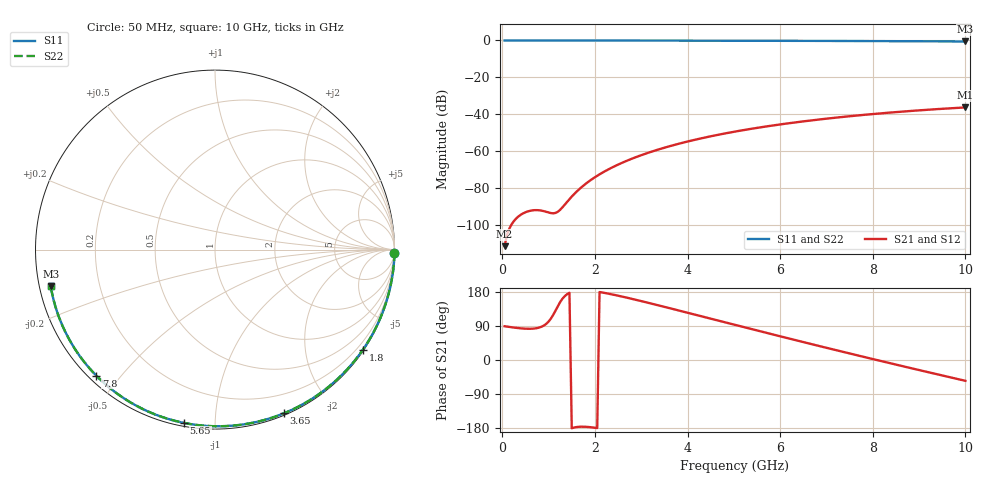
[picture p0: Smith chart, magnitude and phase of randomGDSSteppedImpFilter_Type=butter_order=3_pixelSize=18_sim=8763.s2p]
! freq	dB(S11)	phase(S11)	dB(S12)	phase(S12)
!  dB(S21)	phase(S21)	dB(S22)	phase(S22)
!S-par simulation data
#  GHz  S  DB  R 50
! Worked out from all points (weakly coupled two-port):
!   200 points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, 50 MHz to 10 GHz, reference 50 ohm
!   highest |S21| = -36.33 dB at 10 GHz (marker M1); lowest = -111.6 dB at 50 MHz (marker M2)
!   lowest |S11| = -0.6 dB at 10 GHz (marker M3), VSWR 31.12, Z = 1.63 - j5.48 ohm
!   |S11| at or under -10 dB: nowhere
!   |S22| runs from -0.6 to 0.0 dB; largest |S21 - S12| = 0
!   S11 on the Smith chart (normalised r, x): 50 MHz: open; 1.8 GHz: 0.03, -3.26; 3.65 GHz: 0.02, -1.51; 5.65 GHz: 0.02, -0.84; 7.8 GHz: 0.02, -0.43; 10 GHz: 0.03, -0.11
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0.05  -0.00 -1.0  -111.61 89.1  -111.61 89.1  -0.00 -1.0
0.45  -0.01 -8.7  -93.81 83.0  -93.81 83.0  -0.01 -8.7
0.85  -0.02 -16.3  -92.34 87.9  -92.34 87.9  -0.02 -16.3
1.65  -0.04 -31.3  -80.95 -176.3  -80.95 -176.3  -0.04 -31.3
1.7  -0.04 -32.2  -79.84 -176.0  -79.84 -176.0  -0.04 -32.2
1.75  -0.04 -33.2  -78.78 -176.0  -78.78 -176.0  -0.04 -33.2
1.8  -0.04 -34.1  -77.78 -176.2  -77.78 -176.2  -0.04 -34.1
2.1  -0.05 -39.6  -72.64 179.4  -72.64 179.4  -0.05 -39.6
2.3  -0.06 -43.3  -69.82 174.9  -69.82 174.9  -0.06 -43.3
2.5  -0.06 -46.9  -67.36 169.7  -67.36 169.7  -0.06 -46.9
2.9  -0.07 -54.0  -63.17 158.4  -63.17 158.4  -0.07 -54.0
3.4  -0.08 -62.8  -58.94 143.4  -58.94 143.4  -0.08 -62.8
3.65  -0.09 -67.2  -57.12 135.7  -57.12 135.7  -0.09 -67.2
4.3  -0.11 -78.2  -53.08 115.4  -53.08 115.4  -0.11 -78.2
5.05  -0.14 -90.5  -49.33 91.9  -49.33 91.9  -0.14 -90.5
5.65  -0.17 -100.1  -46.84 73.3  -46.84 73.3  -0.17 -100.1
6.15  -0.19 -108.0  -45.04 58.0  -45.04 58.0  -0.19 -108.0
6.7  -0.23 -116.5  -43.29 41.2  -43.29 41.2  -0.23 -116.5
7.8  -0.31 -133.3  -40.39 8.4  -40.39 8.4  -0.31 -133.3
8.35  -0.36 -141.7  -39.18 -7.8  -39.18 -7.8  -0.36 -141.7
9.2  -0.46 -154.8  -37.57 -32.3  -37.57 -32.3  -0.46 -154.8
10  -0.56 -167.5  -36.33 -54.9  -36.33 -54.9  -0.56 -167.5
